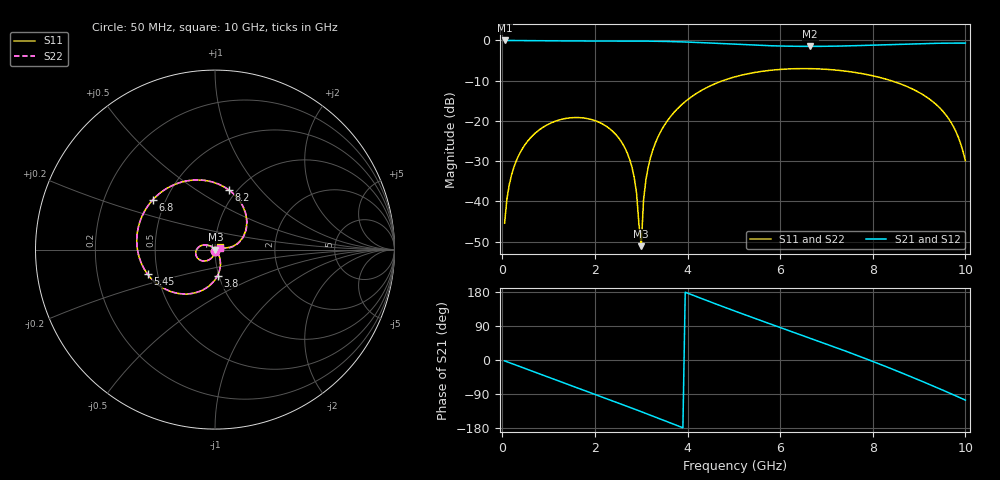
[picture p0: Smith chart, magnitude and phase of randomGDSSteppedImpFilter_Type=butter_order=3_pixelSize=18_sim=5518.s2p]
! freq	dB(S11)	phase(S11)	dB(S12)	phase(S12)
!  dB(S21)	phase(S21)	dB(S22)	phase(S22)
!S-par simulation data
#  GHz  S  DB  R 50
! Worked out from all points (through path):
!   200 points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, 50 MHz to 10 GHz, reference 50 ohm
!   highest |S21| = 0.00 dB at 50 MHz (marker M1); lowest = -1.5 dB at 6.65 GHz (marker M2)
!   group delay of S21, straight-line fit = 128 ps
!   lowest |S11| = -51.1 dB at 3 GHz (marker M3), VSWR 1.01, Z = 50.3 - j0.0871 ohm
!   |S11| at or under -10 dB: start of sweep to 4.762 GHz; 8.397 GHz to end of sweep
!   |S22| runs from -51.8 to -7.0 dB; largest |S21 - S12| = 0
!   S11 on the Smith chart (normalised r, x): 50 MHz: 1.00, -0.01; 3.8 GHz: 0.99, -0.29; 5.45 GHz: 0.44, -0.14; 6.8 GHz: 0.43, +0.30; 8.2 GHz: 0.92, +0.69; 10 GHz: 1.06, +0.03
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0.05  -45.40 -91.8  -0.00 -2.3  -0.00 -2.3  -45.40 -91.8
0.2  -33.41 -99.1  -0.02 -9.2  -0.02 -9.2  -33.41 -99.1
0.5  -25.74 -113.0  -0.04 -22.8  -0.04 -22.8  -25.74 -113.0
1.05  -20.51 -138.2  -0.09 -47.6  -0.09 -47.6  -20.51 -138.2
1.75  -19.26 -170.2  -0.14 -79.1  -0.14 -79.1  -19.26 -170.1
2.3  -21.77 164.5  -0.15 -103.9  -0.15 -103.9  -21.77 164.7
2.7  -28.02 145.2  -0.15 -122.3  -0.15 -122.3  -28.02 145.8
2.9  -38.02 132.4  -0.16 -131.6  -0.16 -131.6  -38.04 134.5
3  -51.12 -18.2  -0.17 -136.3  -0.17 -136.3  -51.77 -29.2
3.05  -39.69 -43.2  -0.17 -138.7  -0.17 -138.7  -39.73 -45.9
3.1  -34.72 -48.3  -0.17 -141.0  -0.17 -141.0  -34.74 -49.9
3.4  -23.09 -64.9  -0.22 -155.2  -0.22 -155.2  -23.10 -65.4
3.8  -16.76 -84.2  -0.33 -174.1  -0.33 -174.1  -16.76 -84.5
5.05  -8.96 -142.2  -0.96 127.8  -0.96 127.8  -8.96 -142.4
5.45  -7.96 -160.0  -1.17 110.0  -1.17 110.0  -7.96 -160.2
6.65  -7.01 147.7  -1.48 57.5  -1.48 57.5  -7.01 147.5
6.7  -7.02 145.5  -1.48 55.3  -1.48 55.3  -7.02 145.3
6.8  -7.06 141.1  -1.47 50.9  -1.47 50.9  -7.06 140.9
8.2  -9.34 77.0  -1.09 -13.3  -1.09 -13.3  -9.34 76.7
8.35  -9.83 69.9  -1.03 -20.6  -1.03 -20.6  -9.83 69.5
9.5  -17.42 16.4  -0.69 -78.9  -0.69 -78.9  -17.44 15.3
10  -29.88 24.0  -0.66 -105.8  -0.66 -105.8  -30.35 20.1
